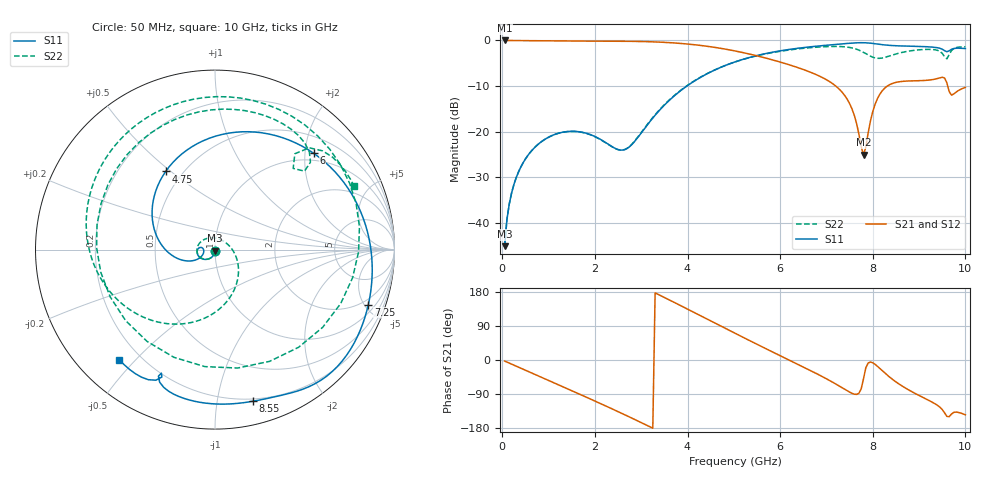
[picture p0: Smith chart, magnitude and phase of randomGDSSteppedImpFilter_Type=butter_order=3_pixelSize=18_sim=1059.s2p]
! freq	dB(S11)	phase(S11)	dB(S12)	phase(S12)
!  dB(S21)	phase(S21)	dB(S22)	phase(S22)
!S-par simulation data
#  GHz  S  DB  R 50
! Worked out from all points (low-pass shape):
!   200 points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, 50 MHz to 10 GHz, reference 50 ohm
!   highest |S21| = -0.02 dB at 50 MHz (marker M1); lowest = -25.0 dB at 7.8 GHz (marker M2)
!   |S21| within 3 dB of the highest: start of sweep to 5.348 GHz
!   lowest |S11| = -45.1 dB at 50 MHz (marker M3), VSWR 1.01, Z = 50.1 - j0.544 ohm
!   |S11| at or under -10 dB: start of sweep to 3.986 GHz
!   |S22| runs from -45.1 to -1.3 dB; largest |S21 - S12| = 0
!   S11 on the Smith chart (normalised r, x): 50 MHz: 1.00, -0.01; 4.75 GHz: 0.40, +0.48; 6 GHz: 0.84, +2.19; 7.25 GHz: 1.53, -5.33; 8.55 GHz: 0.18, -1.27; 10 GHz: 0.12, -0.45
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0.05  -45.07 -76.7  -0.02 -2.7  -0.02 -2.7  -45.07 -76.7
0.2  -33.45 -96.2  -0.03 -10.9  -0.03 -10.9  -33.45 -96.2
0.55  -25.23 -118.8  -0.06 -29.7  -0.06 -29.7  -25.23 -119.1
1.75  -20.17 -178.6  -0.15 -94.6  -0.15 -94.6  -20.20 167.6
2.65  -23.90 -169.1  -0.19 -144.8  -0.19 -144.8  -23.87 56.2
3.4  -15.25 -158.7  -0.38 171.0  -0.38 171.0  -15.14 -41.5
4.1  -9.22 164.1  -0.90 128.1  -0.90 128.1  -9.16 -89.8
4.75  -5.77 122.3  -1.80 87.6  -1.80 87.6  -5.75 -128.7
5.05  -4.63 102.7  -2.36 69.0  -2.36 69.0  -4.64 -146.2
6  -2.29 44.3  -4.75 11.4  -4.75 11.4  -2.39 157.1
6.7  -1.36 6.7  -7.16 -30.6  -7.16 -30.6  -1.56 109.9
7.25  -0.84 -19.7  -10.43 -66.8  -10.43 -66.8  -1.33 59.9
7.6  -0.56 -36.2  -16.39 -90.1  -16.39 -90.1  -1.78 9.0
7.8  -0.51 -46.1  -25.03 -49.3  -25.03 -49.3  -2.62 -35.8
8.05  -0.73 -57.8  -14.00 -11.5  -14.00 -11.5  -3.84 -110.9
8.2  -0.93 -63.7  -11.10 -27.7  -11.10 -27.7  -3.87 -155.7
8.35  -1.09 -69.0  -9.78 -43.8  -9.78 -43.8  -3.45 168.0
8.55  -1.20 -75.8  -9.10 -62.0  -9.10 -62.0  -2.84 132.7
9  -1.33 -91.8  -8.83 -93.7  -8.83 -93.7  -2.07 82.3
9.55  -2.24 -114.1  -8.23 -139.3  -8.23 -139.3  -3.57 41.2
9.7  -1.95 -114.3  -11.98 -142.5  -11.98 -142.5  -2.23 47.2
10  -1.80 -131.0  -10.30 -144.5  -10.30 -144.5  -1.39 24.5
